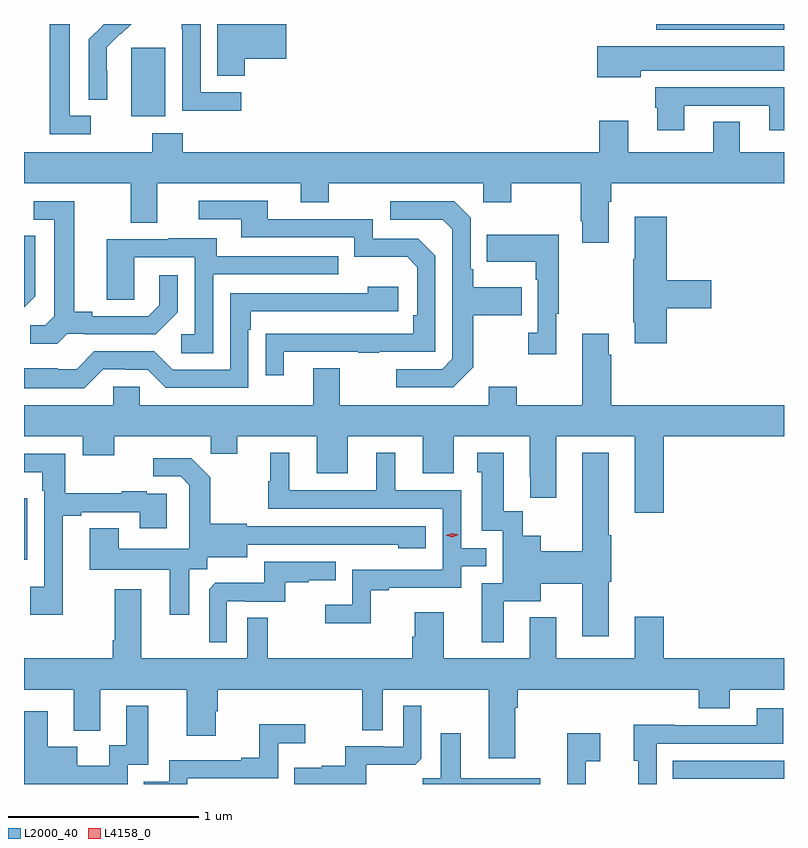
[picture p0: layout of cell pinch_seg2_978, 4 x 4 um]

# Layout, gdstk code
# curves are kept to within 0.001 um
import gdstk
lib = gdstk.Library(unit=1e-6, precision=1e-09)
def R(c, l, rs):  # rectangles x0, y0, x1, y1
    for r in rs: c.add(gdstk.rectangle(r[:2], r[2:], *l))
def P(c, l, *ps):  # polygons
    for p in ps: c.add(gdstk.Polygon(p, *l))
L2000_40 = (2000, 40)
L4158_0 = (4158, 0)

pinch_seg2_978 = lib.new_cell('pinch_seg2_978')
R(pinch_seg2_978, L2000_40, [(208.153,656.49,208.739,656.586), (204.739,657.642,204.756,657.967), (205.304,659.978,205.483,660.339), (208.067,660.434,208.739,660.463)])
P(pinch_seg2_978, L2000_40, [(205.901,660.281),(206.119,660.281),(206.119,660.463),(205.757,660.463),(205.757,660.19),(205.901,660.19)],
  [(205.176,660.218),(205.175,660.218),(205.175,660.341),(205.245,660.411),(205.248,660.408),(205.303,660.463),(205.159,660.463),(205.152,660.456),(205.153,660.455),(205.08,660.382),(205.08,660.064),(205.176,660.064)],
  [(205.882,660.105),(205.668,660.105),(205.668,660.463),(205.57,660.463),(205.57,660.436),(205.572,660.436),(205.572,660.007),(205.882,660.007)],
  [(205.09,659.979),(204.979,659.979),(204.979,660.463),(204.875,660.463),(204.875,659.883),(205.09,659.883)],
  [(207.985,660.218),(208.739,660.218),(208.739,660.346),(207.756,660.346),(207.756,660.182),(207.985,660.182)],
  [(208.213,660.033),(208.661,660.033),(208.661,659.904),(208.739,659.904),(208.739,660.129),(208.061,660.129),(208.061,660.021),(208.073,660.021),(208.073,659.904),(208.213,659.904)],
  [(207.817,659.528),(207.83,659.528),(207.83,659.624),(208.739,659.624),(208.739,659.788),(208.507,659.788),(208.507,659.948),(208.367,659.948),(208.367,659.788),(207.919,659.788),(207.919,659.953),(207.767,659.953),(207.767,659.788),(205.574,659.788),(205.574,659.887),(205.414,659.887),(205.414,659.788),(204.739,659.788),(204.739,659.624),(205.301,659.624),(205.301,659.416),(205.441,659.416),(205.441,659.624),(206.195,659.624),(206.195,659.525),(206.343,659.525),(206.343,659.624),(207.156,659.624),(207.156,659.525),(207.303,659.525),(207.303,659.624),(207.67,659.624),(207.67,659.425),(207.677,659.425),(207.677,659.313),(207.817,659.313)],
  [(206.107,658.737),(206.497,658.737),(206.497,658.732),(206.609,658.732),(206.609,658.737),(206.904,658.737),(206.904,659.244),(206.814,659.334),(206.574,659.334),(206.574,659.436),(206.023,659.436),(206.023,659.532),(205.659,659.532),(205.659,659.436),(205.883,659.436),(205.883,659.34),(206.478,659.34),(206.478,659.237),(206.755,659.237),(206.808,659.184),(206.808,658.93),(206.788,658.93),(206.788,658.833),(206.011,658.832),(206.011,658.614),(206.107,658.614)],
  [(207.103,658.657),(207.103,658.93),(207.359,658.93),(207.359,659.077),(207.103,659.077),(207.103,659.173),(207.09,659.173),(207.09,659.442),(207.003,659.529),(206.667,659.529),(206.667,659.433),(206.943,659.433),(206.994,659.382),(206.994,658.701),(206.94,658.647),(206.697,658.647),(206.697,658.551),(206.997,658.551)],
  [(204.966,658.833),(205.06,658.833),(205.06,658.83),(205.432,658.83),(205.548,658.946),(205.548,659.14),(205.451,659.14),(205.451,658.983),(205.394,658.926),(205.099,658.926),(205.099,658.949),(205.003,658.949),(205.003,659.529),(204.789,659.529),(204.789,659.433),(204.899,659.433),(204.899,658.925),(204.852,658.878),(204.771,658.878),(204.771,658.781),(204.914,658.781)],
  [(208.121,658.967),(208.357,658.967),(208.357,659.114),(208.121,659.114),(208.121,659.449),(207.953,659.449),(207.953,659.225),(207.946,659.225),(207.946,658.894),(207.953,658.894),(207.953,658.782),(208.121,658.782)],
  [(207.541,658.937),(207.553,658.937),(207.553,659.353),(207.175,659.353),(207.175,659.213),(207.432,659.213),(207.432,659.117),(207.444,659.117),(207.444,658.838),(207.393,658.838),(207.393,658.725),(207.541,658.725)],
  [(204.798,659.03),(204.798,659.348),(204.739,659.348),(204.739,658.971)],
  [(205.734,659.145),(206.393,659.145),(206.393,659.241),(205.753,659.241),(205.753,659.335),(205.499,659.335),(205.499,659.331),(205.175,659.331),(205.175,659.011),(205.32,659.011),(205.32,659.235),(205.638,659.235),(205.638,658.83),(205.566,658.83),(205.566,658.729),(205.734,658.729)],
  [(205.155,658.647),(205.271,658.647),(205.271,658.644),(205.389,658.644),(205.485,658.548),(205.92,658.548),(205.92,658.853),(205.933,658.853),(205.933,658.95),(206.71,658.95),(206.71,659.08),(206.549,659.08),(206.549,659.046),(205.824,659.046),(205.824,658.644),(205.521,658.644),(205.425,658.74),(205.11,658.74),(205.017,658.647),(204.917,658.647),(204.917,658.651),(204.739,658.651),(204.739,658.547),(205.055,658.547)],
  [(208.106,658.292),(208.739,658.292),(208.739,658.456),(207.83,658.456),(207.83,658.721),(207.817,658.721),(207.817,658.834),(207.677,658.834),(207.677,658.456),(207.333,658.456),(207.333,658.555),(207.185,658.555),(207.185,658.456),(206.401,658.456),(206.401,658.651),(206.261,658.651),(206.261,658.456),(205.347,658.456),(205.347,658.554),(205.209,658.554),(205.209,658.456),(204.739,658.456),(204.739,658.292),(205.049,658.292),(205.049,658.193),(205.213,658.193),(205.213,658.292),(205.723,658.292),(205.723,658.202),(205.861,658.202),(205.861,658.292),(206.279,658.292),(206.279,658.098),(206.443,658.098),(206.443,658.292),(206.837,658.292),(206.837,658.098),(207.001,658.098),(207.001,658.292),(207.401,658.292),(207.401,658.081),(207.404,658.081),(207.404,657.969),(207.541,657.969),(207.541,658.292),(207.953,658.292),(207.953,657.891),(208.106,657.891)],
  [(207.265,657.425),(207.46,657.425),(207.46,657.517),(207.677,657.517),(207.677,657.24),(207.817,657.24),(207.817,657.528),(207.83,657.528),(207.83,657.772),(207.817,657.772),(207.817,658.207),(207.677,658.207),(207.677,657.689),(207.46,657.689),(207.46,657.769),(207.363,657.769),(207.363,657.899),(207.265,657.899),(207.265,658.207),(207.125,658.207),(207.125,658.104),(207.149,658.104),(207.149,657.795),(207.258,657.795),(207.258,657.519),(207.149,657.519),(207.149,657.21),(207.265,657.21)],
  [(206.565,657.483),(206.659,657.483),(206.659,657.495),(207.039,657.495),(207.039,657.609),(207.172,657.609),(207.172,657.705),(207.039,657.705),(207.039,658.008),(206.692,658.008),(206.692,658.207),(206.594,658.207),(206.594,658.008),(206.134,658.008),(206.134,658.207),(206.036,658.207),(206.036,658.056),(206.025,658.056),(206.025,657.912),(206.943,657.912),(206.943,657.591),(206.466,657.591),(206.466,657.406),(206.325,657.406),(206.325,657.308),(206.565,657.308)],
  [(204.943,657.876),(205.039,657.876),(205.039,657.894),(205.349,657.894),(205.349,657.81),(205.489,657.81),(205.489,657.99),(205.385,657.99),(205.385,658.003),(205.253,658.003),(205.253,657.992),(204.955,657.992),(204.955,658.2),(204.739,658.2),(204.739,658.103),(204.834,658.103),(204.834,658.007),(204.846,658.007),(204.846,657.502),(204.771,657.502),(204.771,657.354),(204.943,657.354)],
  [(205.609,657.592),(205.704,657.592),(205.704,657.656),(205.915,657.656),(205.915,657.723),(206.709,657.722),(206.709,657.704),(206.854,657.704),(206.854,657.819),(205.911,657.819),(205.911,657.832),(205.719,657.832),(205.719,658.077),(205.619,658.177),(205.419,658.177),(205.419,658.083),(205.563,658.083),(205.61,658.036),(205.61,657.941),(205.608,657.941),(205.608,657.7),(205.237,657.7),(205.237,657.809),(205.085,657.809),(205.085,657.59),(205.505,657.59),(205.505,657.354),(205.609,657.354)],
  [(205.806,657.426),(205.906,657.426),(205.906,657.423),(206.114,657.423),(206.114,657.525),(206.237,657.525),(206.237,657.536),(206.381,657.536),(206.381,657.633),(206.004,657.633),(206.004,657.521),(205.745,657.521),(205.713,657.489),(205.713,657.209),(205.806,657.209)],
  [(207.325,656.864),(207.338,656.864),(207.338,656.96),(208.289,656.96),(208.289,656.861),(208.453,656.861),(208.453,656.96),(208.739,656.96),(208.739,657.124),(208.106,657.124),(208.106,657.343),(207.953,657.343),(207.953,657.124),(207.541,657.124),(207.541,657.34),(207.401,657.34),(207.401,657.124),(206.947,657.124),(206.947,657.367),(206.795,657.367),(206.795,657.237),(206.783,657.237),(206.783,657.124),(206.023,657.124),(206.023,657.338),(205.914,657.338),(205.914,657.124),(205.357,657.124),(205.357,657.487),(205.217,657.487),(205.217,657.22),(205.205,657.22),(205.205,657.124),(204.739,657.124),(204.739,656.96),(205.001,656.96),(205.001,656.744),(205.141,656.744),(205.141,656.96),(205.595,656.96),(205.595,656.718),(205.747,656.718),(205.747,656.847),(205.76,656.847),(205.76,656.96),(206.52,656.96),(206.52,656.746),(206.628,656.746),(206.628,656.96),(207.185,656.96),(207.185,656.598),(207.325,656.598)],
  [(206.539,656.564),(206.797,656.564),(206.829,656.595),(206.829,656.875),(206.736,656.875),(206.736,656.658),(206.636,656.658),(206.636,656.661),(206.429,656.661),(206.429,656.56),(206.305,656.56),(206.305,656.548),(206.161,656.548),(206.161,656.463),(206.539,656.463)],
  [(205.284,656.565),(205.393,656.565),(205.393,656.875),(205.277,656.875),(205.277,656.666),(205.187,656.666),(205.187,656.56),(205.018,656.56),(205.018,656.659),(204.865,656.659),(204.865,656.845),(204.739,656.845),(204.739,656.463),(205.284,656.463)],
  [(208.068,656.676),(208.735,656.676),(208.735,656.863),(208.595,656.863),(208.595,656.772),(208.165,656.772),(208.165,656.774),(207.947,656.774),(207.947,656.586),(207.972,656.586),(207.972,656.463),(208.068,656.463)],
  [(205.599,656.493),(206.076,656.493),(206.076,656.678),(206.218,656.678),(206.218,656.777),(205.978,656.777),(205.978,656.602),(205.883,656.602),(205.883,656.589),(205.503,656.589),(205.503,656.475),(205.369,656.475),(205.369,656.463),(205.599,656.463)],
  [(207.696,656.582),(207.772,656.582),(207.772,656.731),(207.599,656.731),(207.599,656.463),(207.696,656.463)],
  [(207.457,656.494),(207.037,656.494),(207.037,656.731),(206.933,656.731),(206.933,656.492),(206.838,656.492),(206.838,656.463),(207.457,656.463)])
P(pinch_seg2_978, L4158_0, [(206.994,657.763),(206.959,657.771),(206.959,657.771),(206.959,657.771),(206.993,657.783),(207.028,657.776),(207.028,657.776),(207.028,657.776)])

lib.write_gds('pinch_seg2_978.gds')
